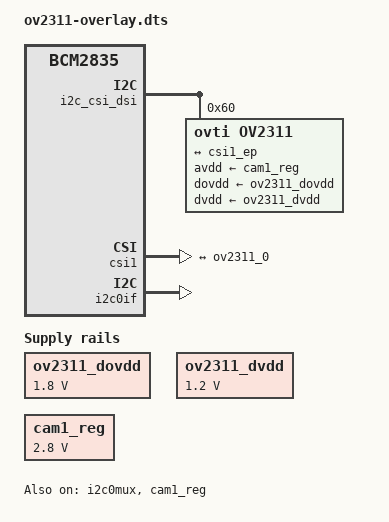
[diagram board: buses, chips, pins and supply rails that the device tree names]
// SPDX-License-Identifier: GPL-2.0-only
// Definitions for OV2311 camera module on VC I2C bus
/dts-v1/;
/plugin/;

#include <dt-bindings/gpio/gpio.h>

/{
	compatible = "brcm,bcm2835";

	fragment@0 {
		target = <&i2c_csi_dsi>;
		__overlay__ {
			#address-cells = <1>;
			#size-cells = <0>;
			status = "okay";

			ov2311: ov2311@60 {
				compatible = "ovti,ov2311";
				reg = <0x60>;
				status = "okay";

				clocks = <&ov2311_clk>;
				clock-names = "xvclk";

				avdd-supply = <&cam1_reg>;
				dovdd-supply = <&ov2311_dovdd>;
				dvdd-supply = <&ov2311_dvdd>;

				port {
					ov2311_0: endpoint {
						remote-endpoint = <&csi1_ep>;
						clock-lanes = <0>;
						data-lanes = <1 2>;
						link-frequencies =
							/bits/ 64 <400000000>;
					};
				};
			};
		};
	};

	fragment@1 {
		target = <&csi1>;
		__overlay__ {
			status = "okay";

			port {
				csi1_ep: endpoint {
					remote-endpoint = <&ov2311_0>;
					data-lanes = <1 2>;
				};
			};
		};
	};

	fragment@2 {
		target = <&i2c0if>;
		__overlay__ {
			status = "okay";
		};
	};

	fragment@3 {
		target-path="/";
		__overlay__ {
			ov2311_dovdd: fixedregulator@1 {
				compatible = "regulator-fixed";
				regulator-name = "ov2311_dovdd";
				regulator-min-microvolt = <1800000>;
				regulator-max-microvolt = <1800000>;
			};
			ov2311_dvdd: fixedregulator@2 {
				compatible = "regulator-fixed";
				regulator-name = "ov2311_dvdd";
				regulator-min-microvolt = <1200000>;
				regulator-max-microvolt = <1200000>;
			};
			ov2311_clk: ov2311-clk {
				compatible = "fixed-clock";
				#clock-cells = <0>;
				clock-frequency = <24000000>;
			};
		};
	};

	fragment@4 {
		target = <&i2c0mux>;
		__overlay__ {
			status = "okay";
		};
	};

	fragment@5 {
		target = <&cam1_reg>;
		__overlay__ {
			status = "okay";
			regulator-name = "ov2311_avdd";
			regulator-min-microvolt = <2800000>;
			regulator-max-microvolt = <2800000>;
		};
	};
};
